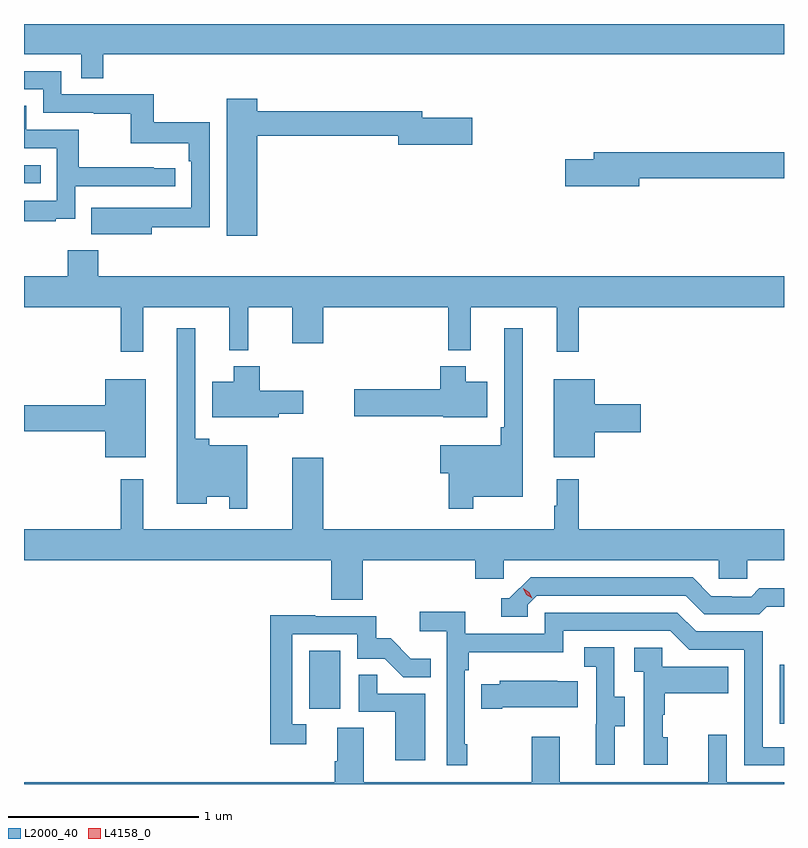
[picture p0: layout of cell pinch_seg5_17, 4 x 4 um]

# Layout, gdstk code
import gdstk
lib = gdstk.Library(unit=1e-6, precision=1e-09)
def R(c, l, rs):  # rectangles x0, y0, x1, y1
    for r in rs: c.add(gdstk.rectangle(r[:2], r[2:], *l))
def P(c, l, *ps):  # polygons
    for p in ps: c.add(gdstk.Polygon(p, *l))
L2000_40 = (2000, 40)
L4158_0 = (4158, 0)

pinch_seg5_17 = lib.new_cell('pinch_seg5_17')
R(pinch_seg5_17, L2000_40, [(1126.614,907.848,1126.637,908.158), (1124.138,907.926,1124.302,908.233), (1122.637,910.692,1122.725,910.788)])
P(pinch_seg5_17, L2000_40, [(1123.055,911.372),(1126.637,911.372),(1126.637,911.531),(1122.637,911.531),(1122.637,911.372),(1122.939,911.372),(1122.939,911.245),(1123.055,911.245)],
  [(1123.309,910.462),(1123.614,910.462),(1123.614,911.014),(1123.321,911.014),(1123.321,911.16),(1122.834,911.16),(1122.834,911.283),(1122.637,911.283),(1122.637,911.187),(1122.738,911.187),(1122.738,911.064),(1123.003,911.064),(1123.003,911.059),(1123.2,911.059),(1123.2,910.904),(1123.505,910.904),(1123.505,910.808),(1123.518,910.808),(1123.518,910.563),(1123.205,910.563),(1123.205,910.564),(1122.991,910.564),(1122.991,910.424),(1123.309,910.424)],
  [(1123.864,910.942),(1124.606,910.942),(1124.606,910.895),(1124.995,910.895),(1124.995,911.037),(1124.734,911.037),(1124.734,911.071),(1123.864,911.071),(1123.864,911.137),(1123.703,911.137),(1123.703,910.416),(1123.864,910.416)],
  [(1122.803,910.505),(1122.906,910.505),(1122.906,910.677),(1123.432,910.677),(1123.432,910.773),(1123.319,910.773),(1123.319,910.778),(1122.926,910.778),(1122.926,910.974),(1122.649,910.974),(1122.649,911.102),(1122.637,911.102),(1122.637,910.878),(1122.81,910.878),(1122.81,910.602),(1122.637,910.602),(1122.637,910.494),(1122.803,910.494)],
  [(1125.874,910.72),(1126.637,910.72),(1126.637,910.856),(1125.635,910.856),(1125.635,910.82),(1125.486,910.82),(1125.486,910.678),(1125.874,910.678)],
  [(1123.265,910.04),(1123.718,910.04),(1123.718,909.815),(1123.818,909.815),(1123.818,910.04),(1124.048,910.04),(1124.048,909.852),(1124.212,909.852),(1124.212,910.04),(1124.869,910.04),(1124.869,909.815),(1124.987,909.815),(1124.987,910.04),(1125.44,910.04),(1125.44,909.807),(1125.557,909.807),(1125.557,910.04),(1126.637,910.04),(1126.637,910.204),(1123.028,910.204),(1123.028,910.339),(1122.868,910.339),(1122.868,910.204),(1122.637,910.204),(1122.637,910.04),(1123.147,910.04),(1123.147,909.807),(1123.265,909.807)],
  [(1123.812,909.313),(1123.613,909.313),(1123.613,909.349),(1123.539,909.349),(1123.539,909.931),(1123.442,909.931),(1123.442,909.005),(1123.6,909.005),(1123.6,909.044),(1123.716,909.044),(1123.716,908.979),(1123.812,908.979)],
  [(1125.001,909.044),(1125.262,909.044),(1125.262,909.931),(1125.165,909.931),(1125.165,909.409),(1125.145,909.409),(1125.145,909.313),(1124.828,909.313),(1124.828,909.166),(1124.872,909.166),(1124.872,908.979),(1125.001,908.979)],
  [(1123.977,909.479),(1124.107,909.479),(1124.107,909.601),(1123.877,909.601),(1123.877,909.73),(1123.742,909.73),(1123.742,909.649),(1123.628,909.649),(1123.628,909.461),(1123.977,909.461)],
  [(1125.076,909.649),(1124.962,909.649),(1124.962,909.73),(1124.828,909.73),(1124.828,909.609),(1124.376,909.609),(1124.376,909.467),(1124.844,909.467),(1124.844,909.461),(1125.076,909.461)],
  [(1125.64,909.383),(1125.883,909.383),(1125.883,909.53),(1125.64,909.53),(1125.64,909.661),(1125.425,909.661),(1125.425,909.251),(1125.64,909.251)],
  [(1123.279,909.661),(1123.064,909.661),(1123.064,909.524),(1122.637,909.524),(1122.637,909.388),(1123.064,909.388),(1123.064,909.251),(1123.279,909.251)],
  [(1124.42,908.708),(1125.011,908.708),(1125.011,908.61),(1125.162,908.61),(1125.162,908.708),(1126.293,908.708),(1126.293,908.61),(1126.443,908.61),(1126.443,908.708),(1126.637,908.708),(1126.637,908.872),(1125.557,908.872),(1125.557,909.136),(1125.44,909.136),(1125.44,908.996),(1125.429,908.996),(1125.429,908.872),(1124.212,908.872),(1124.212,909.247),(1124.048,909.247),(1124.048,908.872),(1123.264,908.872),(1123.264,909.136),(1123.147,909.136),(1123.147,908.872),(1122.637,908.872),(1122.637,908.708),(1124.255,908.708),(1124.255,908.5),(1124.42,908.5)],
  [(1125.288,908.475),(1125.336,908.523),(1126.119,908.523),(1126.218,908.424),(1126.507,908.424),(1126.546,908.463),(1126.637,908.463),(1126.637,908.56),(1126.507,908.56),(1126.465,908.517),(1126.362,908.517),(1126.362,908.52),(1126.255,908.52),(1126.156,908.619),(1125.303,908.619),(1125.192,908.508),(1125.149,908.508),(1125.149,908.412),(1125.288,908.412)],
  [(1124.971,907.741),(1124.958,907.741),(1124.958,908.129),(1124.978,908.129),(1124.978,908.225),(1125.474,908.225),(1125.474,908.337),(1126.038,908.337),(1126.137,908.238),(1126.428,908.238),(1126.428,907.629),(1126.637,907.629),(1126.637,907.725),(1126.524,907.725),(1126.524,908.334),(1126.174,908.334),(1126.075,908.433),(1125.378,908.433),(1125.378,908.322),(1124.96,908.322),(1124.96,908.438),(1124.721,908.438),(1124.721,908.336),(1124.862,908.336),(1124.862,907.629),(1124.971,907.629)],
  [(1124.122,907.845),(1124.049,907.845),(1124.049,908.319),(1124.391,908.319),(1124.391,908.19),(1124.535,908.19),(1124.633,908.092),(1124.777,908.092),(1124.777,908.191),(1124.673,908.191),(1124.566,908.298),(1124.49,908.298),(1124.49,908.415),(1124.171,908.415),(1124.171,908.42),(1123.933,908.42),(1123.933,907.74),(1124.122,907.74)],
  [(1125.745,907.834),(1125.799,907.834),(1125.799,907.989),(1125.744,907.989),(1125.744,908.252),(1125.585,908.252),(1125.585,908.149),(1125.648,908.149),(1125.648,907.845),(1125.647,907.845),(1125.647,907.632),(1125.745,907.632)],
  [(1126.024,907.776),(1125.999,907.776),(1125.999,907.895),(1126.009,907.895),(1126.009,908.009),(1126.343,908.009),(1126.343,908.149),(1125.996,908.149),(1125.996,908.247),(1125.849,908.247),(1125.849,908.123),(1125.9,908.123),(1125.9,907.632),(1126.024,907.632)],
  [(1124.749,908.007),(1124.495,908.007),(1124.495,908.105),(1124.4,908.105),(1124.4,907.911),(1124.591,907.911),(1124.591,907.656),(1124.749,907.656)],
  [(1125.154,907.934),(1125.551,907.934),(1125.551,908.071),(1125.443,908.071),(1125.443,908.074),(1125.141,908.074),(1125.141,908.056),(1125.043,908.056),(1125.043,907.927),(1125.154,907.927)],
  [(1126.637,907.54),(1126.335,907.54),(1126.335,907.789),(1126.238,907.789),(1126.238,907.54),(1125.457,907.54),(1125.457,907.78),(1125.31,907.78),(1125.31,907.54),(1124.425,907.54),(1124.425,907.826),(1124.285,907.826),(1124.285,907.652),(1124.273,907.652),(1124.273,907.54),(1122.637,907.54),(1122.637,907.531),(1126.637,907.531)])
P(pinch_seg5_17, L4158_0, [(1125.312,908.508),(1125.281,908.528),(1125.265,908.561),(1125.265,908.561),(1125.265,908.561),(1125.296,908.541),(1125.312,908.509),(1125.312,908.508)])

lib.write_gds('pinch_seg5_17.gds')
